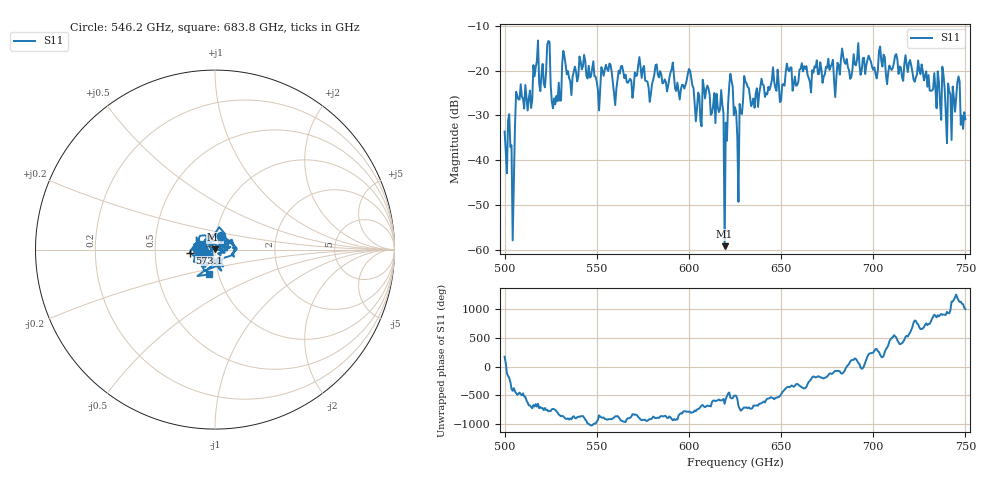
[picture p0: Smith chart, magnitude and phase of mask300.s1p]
!Created with skrf (http://scikit-rf.org).
# GHz S MA R 50.0
!freq magS11 angS11
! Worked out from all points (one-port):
!   401 points, 500 GHz to 750 GHz, reference 50 ohm
!   lowest |S11| = -59.3 dB at 619.4 GHz (marker M1), VSWR 1.00, Z = 50 + j0.104 ohm
!   |S11| at or under -10 dB: start of sweep to end of sweep
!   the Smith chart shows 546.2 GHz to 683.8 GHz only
!   S11 on the Smith chart (normalised r, x): 546.2 GHz: 1.05, +0.16; 573.1 GHz: 0.75, -0.03; 683.8 GHz: 0.90, -0.25
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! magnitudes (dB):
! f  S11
! 500 GHz  -33.6
! 504.4 GHz  -58.0
! 507.5 GHz  -26.4
! 513.8 GHz  -24.5
! 516.9 GHz  -19.3
! 520.6 GHz  -18.5
! 523.8 GHz  -13.4
! 526.9 GHz  -26.2
! 531.2 GHz  -18.3
! 546.2 GHz  -21.5
! 562.5 GHz  -20.6
! 573.1 GHz  -17.0
! 593.8 GHz  -22.7
! 600 GHz  -19.6
! 616.2 GHz  -29.3
! 619.4 GHz  -59.3
! 622.5 GHz  -20.7
! 625 GHz  -28.2
! 627.5 GHz  -27.4
! 631.2 GHz  -22.9
! 634.4 GHz  -27.3
! 656.2 GHz  -24.5
! 683.8 GHz  -16.9
! 687.5 GHz  -21.8
! 718.8 GHz  -20.3
! 741.2 GHz  -24.6
! 745.6 GHz  -22.8
! 750 GHz  -30.9
